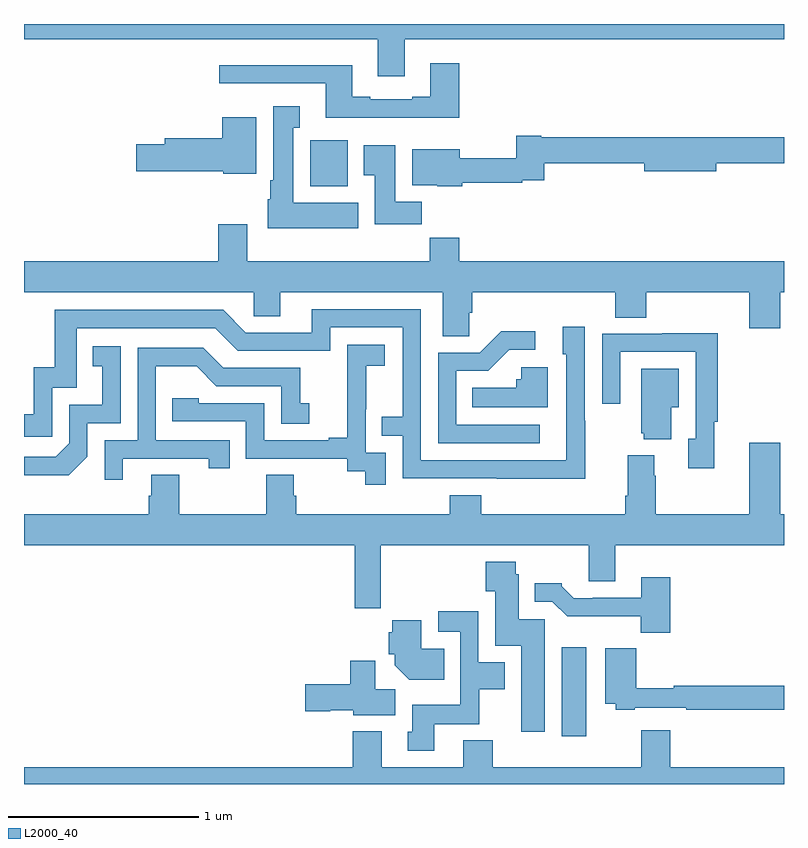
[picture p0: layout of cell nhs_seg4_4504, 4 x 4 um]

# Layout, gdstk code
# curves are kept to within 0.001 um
import gdstk
lib = gdstk.Library(unit=1e-6, precision=1e-09)
def R(c, l, rs):  # rectangles x0, y0, x1, y1
    for r in rs: c.add(gdstk.rectangle(r[:2], r[2:], *l))
def P(c, l, *ps):  # polygons
    for p in ps: c.add(gdstk.Polygon(p, *l))
L2000_40 = (2000, 40)

nhs_seg4_4504 = lib.new_cell('nhs_seg4_4504')
R(nhs_seg4_4504, L2000_40, [(355.829,793.152,355.96,793.621), (354.506,796.046,354.703,796.288)])
P(nhs_seg4_4504, L2000_40, [(355.003,796.82),(357,796.82),(357,796.9),(353,796.9),(353,796.82),(354.863,796.82),(354.863,796.626),(355.003,796.626)],
  [(355.292,796.693),(355.139,796.693),(355.139,796.516),(355.043,796.516),(355.043,796.503),(354.823,796.503),(354.823,796.516),(354.727,796.516),(354.727,796.684),(354.027,796.684),(354.027,796.587),(354.587,796.587),(354.587,796.406),(355.292,796.406)],
  [(354.76,795.958),(354.418,795.958),(354.418,796.355),(354.451,796.355),(354.451,796.468),(354.311,796.468),(354.311,796.078),(354.296,796.078),(354.296,795.978),(354.284,795.978),(354.284,795.824),(354.76,795.824)],
  [(354.223,796.408),(354.044,796.408),(354.044,796.298),(353.741,796.298),(353.741,796.268),(353.592,796.268),(353.592,796.126),(354.048,796.126),(354.048,796.112),(354.223,796.112)],
  [(355.307,796.065),(355.622,796.065),(355.622,796.077),(355.739,796.077),(355.739,796.168),(356.264,796.168),(356.264,796.126),(356.644,796.126),(356.644,796.168),(357,796.168),(357,796.304),(355.722,796.304),(355.722,796.312),(355.591,796.312),(355.591,796.193),(355.294,796.193),(355.294,796.24),(355.043,796.24),(355.043,796.052),(355.176,796.052),(355.176,796.046),(355.307,796.046)],
  [(355.094,795.964),(354.955,795.964),(354.955,796.261),(354.788,796.261),(354.788,796.105),(354.845,796.105),(354.845,795.846),(355.094,795.846)],
  [(354.175,795.847),(354.023,795.847),(354.023,795.652),(353,795.652),(353,795.488),(354.21,795.488),(354.21,795.361),(354.349,795.361),(354.349,795.488),(355.205,795.488),(355.205,795.256),(355.344,795.256),(355.344,795.379),(355.358,795.379),(355.358,795.488),(356.111,795.488),(356.111,795.355),(356.276,795.355),(356.276,795.488),(356.816,795.488),(356.816,795.3),(356.98,795.3),(356.98,795.488),(357,795.488),(357,795.652),(355.292,795.652),(355.292,795.776),(355.135,795.776),(355.135,795.652),(354.175,795.652)],
  [(355.953,794.813),(355.95,794.813),(355.95,795.307),(355.835,795.307),(355.835,795.162),(355.854,795.162),(355.853,794.604),(355.089,794.604),(355.089,795.399),(354.515,795.399),(354.515,795.276),(354.168,795.276),(354.048,795.396),(353.161,795.396),(353.161,795.094),(353.051,795.094),(353.051,794.847),(353,794.847),(353,794.727),(353.148,794.727),(353.148,794.985),(353.277,794.985),(353.277,795.3),(354.006,795.3),(354.126,795.18),(354.612,795.18),(354.612,795.303),(354.993,795.303),(354.993,794.834),(354.883,794.834),(354.883,794.733),(354.993,794.733),(354.993,794.508),(355.953,794.507)],
  [(355.714,794.79),(355.275,794.79),(355.275,795.075),(355.444,795.075),(355.555,795.186),(355.69,795.186),(355.69,795.284),(355.511,795.284),(355.398,795.171),(355.179,795.171),(355.179,794.694),(355.714,794.694)],
  [(356.633,794.806),(356.651,794.806),(356.651,795.272),(356.359,795.272),(356.359,795.27),(356.043,795.27),(356.043,794.901),(356.139,794.901),(356.139,795.174),(356.535,795.174),(356.535,794.718),(356.495,794.718),(356.495,794.562),(356.633,794.562)],
  [(354.903,794.643),(354.798,794.643),(354.798,794.873),(354.8,794.873),(354.8,795.101),(354.898,795.101),(354.898,795.211),(354.7,795.211),(354.7,795.005),(354.701,795.005),(354.701,794.722),(354.605,794.722),(354.605,794.709),(354.264,794.709),(354.264,794.904),(353.919,794.904),(353.919,794.931),(353.779,794.931),(353.779,794.808),(354.168,794.808),(354.168,794.613),(354.702,794.613),(354.702,794.545),(354.795,794.545),(354.795,794.475),(354.903,794.475)],
  [(353.334,794.622),(353.334,794.799),(353.508,794.799),(353.508,795.205),(353.362,795.205),(353.362,795.099),(353.411,795.099),(353.411,794.895),(353.238,794.895),(353.238,794.694),(353.166,794.622),(353,794.622),(353,794.525),(353.236,794.525)],
  [(353.521,794.613),(353.972,794.613),(353.972,794.562),(354.083,794.562),(354.083,794.709),(353.694,794.709),(353.694,795.098),(353.908,795.098),(354.012,794.994),(354.354,794.994),(354.354,794.796),(354.502,794.796),(354.502,794.905),(354.453,794.905),(354.453,795.09),(354.049,795.09),(353.944,795.195),(353.598,795.195),(353.598,794.709),(353.424,794.709),(353.424,794.502),(353.521,794.502)],
  [(355.756,795.094),(355.617,795.094),(355.617,795.03),(355.591,795.03),(355.591,794.986),(355.36,794.986),(355.36,794.882),(355.756,794.882)],
  [(356.407,794.882),(356.446,794.882),(356.446,795.085),(356.249,795.085),(356.249,794.745),(356.261,794.745),(356.261,794.714),(356.407,794.714)],
  [(354.878,794.156),(355.973,794.156),(355.973,793.966),(356.113,793.966),(356.113,794.156),(357,794.156),(357,794.32),(356.98,794.32),(356.98,794.695),(356.816,794.695),(356.816,794.32),(356.325,794.32),(356.325,794.522),(356.317,794.522),(356.317,794.629),(356.177,794.629),(356.177,794.416),(356.165,794.416),(356.165,794.32),(355.406,794.32),(355.406,794.419),(355.241,794.419),(355.241,794.32),(354.434,794.32),(354.434,794.418),(354.421,794.418),(354.421,794.528),(354.274,794.528),(354.274,794.32),(353.817,794.32),(353.817,794.528),(353.669,794.528),(353.669,794.418),(353.657,794.418),(353.657,794.32),(353,794.32),(353,794.156),(354.742,794.156),(354.742,793.824),(354.878,793.824)],
  [(355.741,793.767),(355.603,793.767),(355.603,794.004),(355.587,794.004),(355.587,794.071),(355.43,794.071),(355.43,793.915),(355.481,793.915),(355.481,793.628),(355.616,793.628),(355.616,793.176),(355.741,793.176)],
  [(356.402,793.987),(356.249,793.987),(356.249,793.881),(355.993,793.881),(355.993,793.878),(355.894,793.878),(355.83,793.942),(355.83,793.957),(355.688,793.957),(355.688,793.86),(355.779,793.86),(355.858,793.782),(356.247,793.782),(356.247,793.697),(356.402,793.697)],
  [(355.159,793.214),(355.395,793.214),(355.395,793.4),(355.531,793.4),(355.531,793.54),(355.392,793.54),(355.392,793.81),(355.179,793.81),(355.179,793.701),(355.296,793.701),(355.296,793.318),(355.043,793.318),(355.043,793.176),(355.019,793.176),(355.019,793.074),(355.159,793.074)],
  [(355.211,793.612),(355.09,793.612),(355.09,793.762),(354.938,793.762),(354.938,793.698),(354.921,793.698),(354.921,793.584),(354.95,793.584),(354.95,793.526),(355.028,793.448),(355.211,793.448)],
  [(356.215,793.302),(356.485,793.302),(356.485,793.29),(357,793.29),(357,793.418),(356.42,793.418),(356.42,793.403),(356.222,793.403),(356.222,793.615),(356.06,793.615),(356.06,793.322),(356.115,793.322),(356.115,793.29),(356.215,793.29)],
  [(354.955,793.4),(354.848,793.4),(354.848,793.549),(354.716,793.549),(354.716,793.424),(354.48,793.424),(354.48,793.282),(354.612,793.282),(354.612,793.289),(354.732,793.289),(354.732,793.262),(354.955,793.262)],
  [(357,792.988),(356.402,792.988),(356.402,793.183),(356.249,793.183),(356.249,792.988),(355.466,792.988),(355.466,793.129),(355.313,793.129),(355.313,792.988),(354.883,792.988),(354.883,793.177),(354.731,793.177),(354.731,792.988),(353,792.988),(353,792.9),(357,792.9)])

lib.write_gds('nhs_seg4_4504.gds')
